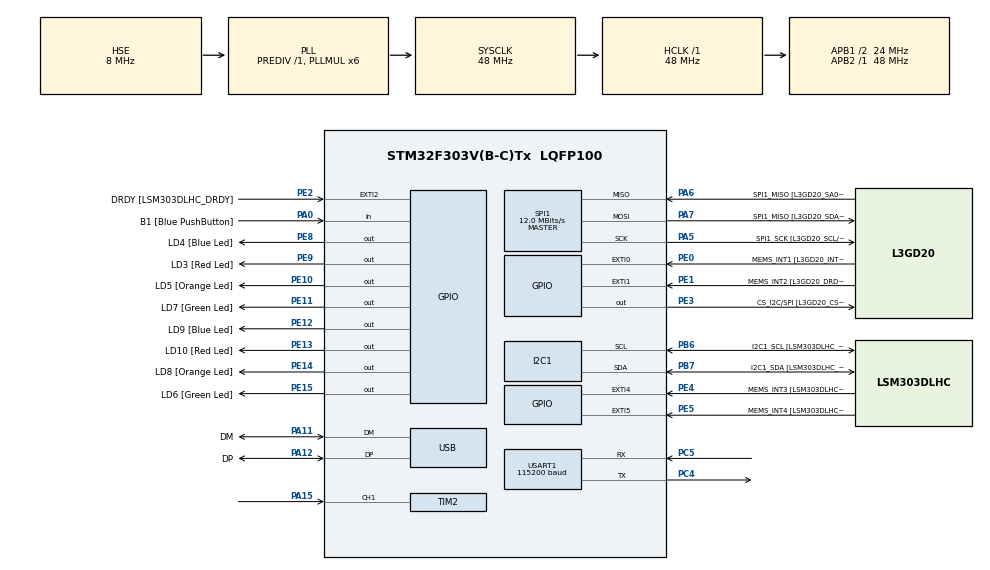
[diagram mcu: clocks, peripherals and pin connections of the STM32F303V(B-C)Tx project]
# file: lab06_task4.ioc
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I2C1.Timing=0x00201D2B
I2C1.Timing-I2C=0x2000090E
Mcu.Family=STM32F3
Mcu.Name=STM32F303V(B-C)Tx
Mcu.Package=LQFP100
NVIC.PriorityGroup=NVIC_PRIORITYGROUP_0
NVIC.TIM2_IRQn=true\:0\:0\:false\:false\:true\:true\:true\:true
PA0.GPIO_Label=B1 [Blue PushButton]
PA0.Signal=GPIO_Input
PA11.GPIO_Label=DM
PA11.Mode=Device
PA11.Signal=USB_DM
PA12.GPIO_Label=DP
PA12.Mode=Device
PA12.Signal=USB_DP
PA13.GPIO_Label=SWDIO
PA13.Mode=Serial_Wire
PA13.Signal=SYS_JTMS-SWDIO
PA14.GPIO_Label=SWCLK
PA14.Mode=Serial_Wire
PA14.Signal=SYS_JTCK-SWCLK
PA15.Signal=S_TIM2_CH1_ETR
PA5.GPIO_Label=SPI1_SCK [L3GD20_SCL/SPC]
PA5.Mode=Full_Duplex_Master
PA5.Signal=SPI1_SCK
PA6.GPIO_Label=SPI1_MISO [L3GD20_SA0/SDO]
PA6.Mode=Full_Duplex_Master
PA6.Signal=SPI1_MISO
PA7.GPIO_Label=SPI1_MISO [L3GD20_SDA/SDI/SDO]
PA7.Mode=Full_Duplex_Master
PA7.Signal=SPI1_MOSI
PB3.GPIO_Label=SWO
PB3.Signal=SYS_JTDO-TRACESWO
PB6.GPIO_Label=I2C1_SCL [LSM303DLHC_SCL]
PB6.GPIO_Pu=GPIO_PULLUP
PB6.Mode=I2C
PB6.Signal=I2C1_SCL
PB7.GPIO_Label=I2C1_SDA [LSM303DLHC_SDA]
PB7.GPIO_Pu=GPIO_PULLUP
PB7.Mode=I2C
PB7.Signal=I2C1_SDA
PC14-OSC32_IN.GPIO_Label=OSC32_IN
PC14-OSC32_IN.Signal=RCC_OSC32_IN
PC15-OSC32_OUT.GPIO_Label=OSC32_OUT
PC15-OSC32_OUT.Signal=RCC_OSC32_OUT
PC4.Mode=Asynchronous
PC4.Signal=USART1_TX
PC5.Mode=Asynchronous
PC5.Signal=USART1_RX
PE0.GPIO_Label=MEMS_INT1 [L3GD20_INT1]
PE0.GPIO_ModeDefaultEXTI=GPIO_MODE_EVT_RISING
PE0.Signal=GPXTI0
PE1.GPIO_Label=MEMS_INT2 [L3GD20_DRDY/INT2]
PE1.GPIO_ModeDefaultEXTI=GPIO_MODE_EVT_RISING
PE1.Signal=GPXTI1
PE10.GPIO_Label=LD5 [Orange Led]
PE10.Signal=GPIO_Output
PE11.GPIO_Label=LD7 [Green Led]
PE11.Signal=GPIO_Output
PE12.GPIO_Label=LD9 [Blue Led]
PE12.Signal=GPIO_Output
PE13.GPIO_Label=LD10 [Red Led]
PE13.Signal=GPIO_Output
PE14.GPIO_Label=LD8 [Orange Led]
PE14.Signal=GPIO_Output
PE15.GPIO_Label=LD6 [Green Led]
PE15.Signal=GPIO_Output
PE2.GPIO_Label=DRDY [LSM303DLHC_DRDY]
PE2.GPIO_ModeDefaultEXTI=GPIO_MODE_EVT_RISING
PE2.Signal=GPXTI2
PE3.GPIO_Label=CS_I2C/SPI [L3GD20_CS_I2C/SPI]
PE3.Signal=GPIO_Output
PE4.GPIO_Label=MEMS_INT3 [LSM303DLHC_INT1]
PE4.GPIO_ModeDefaultEXTI=GPIO_MODE_EVT_RISING
PE4.Signal=GPXTI4
PE5.GPIO_Label=MEMS_INT4 [LSM303DLHC_INT2]
PE5.GPIO_ModeDefaultEXTI=GPIO_MODE_EVT_RISING
PE5.Signal=GPXTI5
PE8.GPIO_Label=LD4 [Blue Led]
PE8.Signal=GPIO_Output
PE9.GPIO_Label=LD3 [Red Led]
PE9.Signal=GPIO_Output
PF0-OSC_IN.GPIO_Label=OSC_IN
PF0-OSC_IN.Mode=HSE-External-Clock-Source
PF0-OSC_IN.Signal=RCC_OSC_IN
PF1-OSC_OUT.GPIO_Label=OSC_OUT
PF1-OSC_OUT.Signal=RCC_OSC_OUT
ProjectManager.HeapSize=0x200
ProjectManager.StackSize=0x400
ProjectManager.TargetToolchain=CMake
RCC.AHBFreq_Value=48000000
RCC.APB1CLKDivider=RCC_HCLK_DIV2
RCC.APB1Freq_Value=24000000
RCC.APB1TimFreq_Value=48000000
RCC.APB2Freq_Value=48000000
RCC.APB2TimFreq_Value=48000000
RCC.CortexFreq_Value=48000000
RCC.HCLKFreq_Value=48000000
RCC.HSE_VALUE=8000000
RCC.HSI_VALUE=8000000
RCC.LSE_VALUE=32768
RCC.PLLMUL=RCC_PLL_MUL6
RCC.SYSCLKFreq_VALUE=48000000
RCC.SYSCLKSourceVirtual=RCC_SYSCLKSOURCE_PLLCLK
RCC.USBFreq_Value=48000000
SH.S_TIM2_CH1_ETR.0=TIM2_CH1,Input_Capture1_from_TI1
SPI1.BaudRatePrescaler=SPI_BAUDRATEPRESCALER_4
SPI1.BaudRatePrescaler-Full_Duplex_Master=SPI_BAUDRATEPRESCALER_2
SPI1.CalculateBaudRate=12.0 MBits/s
SPI1.CalculateBaudRate-Full_Duplex_Master=24.0 MBits/s
SPI1.Direction=SPI_DIRECTION_2LINES
SPI1.Mode=SPI_MODE_MASTER
SPI1.Mode-Full_Duplex_Master=SPI_MODE_MASTER
SPI1.VirtualType=VM_MASTER
TIM2.Channel-Input_Capture1_from_TI1=TIM_CHANNEL_1
TIM2.Prescaler=47
USART1.BaudRate=115200
USART1.VirtualMode-Asynchronous=VM_ASYNC
board=STM32F3DISCOVERY

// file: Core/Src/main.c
/* USER CODE BEGIN Header */
/**
  ******************************************************************************
  * @file           : main.c
  * @brief          : Main program body
  ******************************************************************************
  * @attention
  *
  * Copyright (c) 2026 STMicroelectronics.
  * All rights reserved.
  *
  * This software is licensed under terms that can be found in the LICENSE file
  * in the root directory of this software component.
  * If no LICENSE file comes with this software, it is provided AS-IS.
  *
  ******************************************************************************
  */
/* USER CODE END Header */
#include "main.h"

/* USER CODE BEGIN Includes */

#include <stdio.h>
/* USER CODE END Includes */

/* USER CODE BEGIN PD */

#define PPR 330

/* USER CODE END PD */

I2C_HandleTypeDef hi2c1;

SPI_HandleTypeDef hspi1;

TIM_HandleTypeDef htim2;

UART_HandleTypeDef huart1;

PCD_HandleTypeDef hpcd_USB_FS;

/* USER CODE BEGIN PV */
uint32_t firstCapture = 0;
uint32_t secondCapture = 0;
uint32_t period = 0;
uint32_t frequency = 0;
uint32_t rpm = 0;

uint8_t firstEdge = 1;
uint8_t dataReady = 0;

/* USER CODE END PV */

void SystemClock_Config(void);
static void MX_GPIO_Init(void);
static void MX_I2C1_Init(void);
static void MX_SPI1_Init(void);
static void MX_USB_PCD_Init(void);
static void MX_TIM2_Init(void);
static void MX_USART1_UART_Init(void);

/* USER CODE BEGIN 0 */

int _write(int file, char *ptr, int len)
{
    HAL_UART_Transmit(&huart1, (uint8_t *)ptr, len, HAL_MAX_DELAY);
    return len;
}

void HAL_TIM_IC_CaptureCallback(TIM_HandleTypeDef *htim)
{
  if (htim->Channel == HAL_TIM_ACTIVE_CHANNEL_1)
  {
    if (firstEdge == 1)
    {
      firstCapture = HAL_TIM_ReadCapturedValue(htim, TIM_CHANNEL_1);
      firstEdge = 0;
    }
    else
    {
      secondCapture = HAL_TIM_ReadCapturedValue(htim, TIM_CHANNEL_1);
      period = secondCapture - firstCapture;
      firstCapture = secondCapture;
      dataReady = 1;
      }
  }
}

/* USER CODE END 0 */

int main(void)
{

  /* MCU Configuration--------------------------------------------------------*/

  /* Reset of all peripherals, Initializes the Flash interface and the Systick. */
  HAL_Init();

  /* Configure the system clock */
  SystemClock_Config();

  /* Initialize all configured peripherals */
  MX_GPIO_Init();
  MX_I2C1_Init();
  MX_SPI1_Init();
  MX_USB_PCD_Init();
  MX_TIM2_Init();
  MX_USART1_UART_Init();
  /* USER CODE BEGIN 2 */

  HAL_TIM_IC_Start_IT(&htim2, TIM_CHANNEL_1);

  /* USER CODE END 2 */

  /* Infinite loop */
  while (1)
  {

    /* USER CODE BEGIN 3 */
    if (dataReady == 1)
    {
      if (period != 0)
      {
        frequency = 1000000 / period;
        rpm = (60 * frequency) / PPR;
        printf("Period: %d us\r\n",period);
        printf("Frequency: %d Hz\r\n", frequency);
        printf("RPM: %d \r\n",rpm);
      }

      dataReady = 0;
  }

    HAL_Delay(100);
  }
  /* USER CODE END 3 */
}

void SystemClock_Config(void)
{
  RCC_OscInitTypeDef RCC_OscInitStruct = {0};
  RCC_ClkInitTypeDef RCC_ClkInitStruct = {0};
  RCC_PeriphCLKInitTypeDef PeriphClkInit = {0};

  /** Initializes the RCC Oscillators according to the specified parameters
  * in the RCC_OscInitTypeDef structure.
  */
  RCC_OscInitStruct.OscillatorType = RCC_OSCILLATORTYPE_HSI|RCC_OSCILLATORTYPE_HSE;
  RCC_OscInitStruct.HSEState = RCC_HSE_BYPASS;
  RCC_OscInitStruct.HSEPredivValue = RCC_HSE_PREDIV_DIV1;
  RCC_OscInitStruct.HSIState = RCC_HSI_ON;
  RCC_OscInitStruct.HSICalibrationValue = RCC_HSICALIBRATION_DEFAULT;
  RCC_OscInitStruct.PLL.PLLState = RCC_PLL_ON;
  RCC_OscInitStruct.PLL.PLLSource = RCC_PLLSOURCE_HSE;
  RCC_OscInitStruct.PLL.PLLMUL = RCC_PLL_MUL6;
  if (HAL_RCC_OscConfig(&RCC_OscInitStruct) != HAL_OK)
  {
    Error_Handler();
  }

  /** Initializes the CPU, AHB and APB buses clocks
  */
  RCC_ClkInitStruct.ClockType = RCC_CLOCKTYPE_HCLK|RCC_CLOCKTYPE_SYSCLK
                              |RCC_CLOCKTYPE_PCLK1|RCC_CLOCKTYPE_PCLK2;
  RCC_ClkInitStruct.SYSCLKSource = RCC_SYSCLKSOURCE_PLLCLK;
  RCC_ClkInitStruct.AHBCLKDivider = RCC_SYSCLK_DIV1;
  RCC_ClkInitStruct.APB1CLKDivider = RCC_HCLK_DIV2;
  RCC_ClkInitStruct.APB2CLKDivider = RCC_HCLK_DIV1;

  if (HAL_RCC_ClockConfig(&RCC_ClkInitStruct, FLASH_LATENCY_1) != HAL_OK)
  {
    Error_Handler();
  }
  PeriphClkInit.PeriphClockSelection = RCC_PERIPHCLK_USB|RCC_PERIPHCLK_USART1
                              |RCC_PERIPHCLK_I2C1;
  PeriphClkInit.Usart1ClockSelection = RCC_USART1CLKSOURCE_PCLK2;
  PeriphClkInit.I2c1ClockSelection = RCC_I2C1CLKSOURCE_HSI;
  PeriphClkInit.USBClockSelection = RCC_USBCLKSOURCE_PLL;
  if (HAL_RCCEx_PeriphCLKConfig(&PeriphClkInit) != HAL_OK)
  {
    Error_Handler();
  }
}

static void MX_I2C1_Init(void)
{

  hi2c1.Instance = I2C1;
  hi2c1.Init.Timing = 0x00201D2B;
  hi2c1.Init.OwnAddress1 = 0;
  hi2c1.Init.AddressingMode = I2C_ADDRESSINGMODE_7BIT;
  hi2c1.Init.DualAddressMode = I2C_DUALADDRESS_DISABLE;
  hi2c1.Init.OwnAddress2 = 0;
  hi2c1.Init.OwnAddress2Masks = I2C_OA2_NOMASK;
  hi2c1.Init.GeneralCallMode = I2C_GENERALCALL_DISABLE;
  hi2c1.Init.NoStretchMode = I2C_NOSTRETCH_DISABLE;
  if (HAL_I2C_Init(&hi2c1) != HAL_OK)
  {
    Error_Handler();
  }

  /** Configure Analogue filter
  */
  if (HAL_I2CEx_ConfigAnalogFilter(&hi2c1, I2C_ANALOGFILTER_ENABLE) != HAL_OK)
  {
    Error_Handler();
  }

  /** Configure Digital filter
  */
  if (HAL_I2CEx_ConfigDigitalFilter(&hi2c1, 0) != HAL_OK)
  {
    Error_Handler();
  }

}

static void MX_SPI1_Init(void)
{

  /* SPI1 parameter configuration*/
  hspi1.Instance = SPI1;
  hspi1.Init.Mode = SPI_MODE_MASTER;
  hspi1.Init.Direction = SPI_DIRECTION_2LINES;
  hspi1.Init.DataSize = SPI_DATASIZE_4BIT;
  hspi1.Init.CLKPolarity = SPI_POLARITY_LOW;
  hspi1.Init.CLKPhase = SPI_PHASE_1EDGE;
  hspi1.Init.NSS = SPI_NSS_SOFT;
  hspi1.Init.BaudRatePrescaler = SPI_BAUDRATEPRESCALER_4;
  hspi1.Init.FirstBit = SPI_FIRSTBIT_MSB;
  hspi1.Init.TIMode = SPI_TIMODE_DISABLE;
  hspi1.Init.CRCCalculation = SPI_CRCCALCULATION_DISABLE;
  hspi1.Init.CRCPolynomial = 7;
  hspi1.Init.CRCLength = SPI_CRC_LENGTH_DATASIZE;
  hspi1.Init.NSSPMode = SPI_NSS_PULSE_ENABLE;
  if (HAL_SPI_Init(&hspi1) != HAL_OK)
  {
    Error_Handler();
  }

}

static void MX_TIM2_Init(void)
{

  TIM_MasterConfigTypeDef sMasterConfig = {0};
  TIM_IC_InitTypeDef sConfigIC = {0};

  htim2.Instance = TIM2;
  htim2.Init.Prescaler = 47;
  htim2.Init.CounterMode = TIM_COUNTERMODE_UP;
  htim2.Init.Period = 4294967295;
  htim2.Init.ClockDivision = TIM_CLOCKDIVISION_DIV1;
  htim2.Init.AutoReloadPreload = TIM_AUTORELOAD_PRELOAD_DISABLE;
  if (HAL_TIM_IC_Init(&htim2) != HAL_OK)
  {
    Error_Handler();
  }
  sMasterConfig.MasterOutputTrigger = TIM_TRGO_RESET;
  sMasterConfig.MasterSlaveMode = TIM_MASTERSLAVEMODE_DISABLE;
  if (HAL_TIMEx_MasterConfigSynchronization(&htim2, &sMasterConfig) != HAL_OK)
  {
    Error_Handler();
  }
  sConfigIC.ICPolarity = TIM_INPUTCHANNELPOLARITY_RISING;
  sConfigIC.ICSelection = TIM_ICSELECTION_DIRECTTI;
  sConfigIC.ICPrescaler = TIM_ICPSC_DIV1;
  sConfigIC.ICFilter = 0;
  if (HAL_TIM_IC_ConfigChannel(&htim2, &sConfigIC, TIM_CHANNEL_1) != HAL_OK)
  {
    Error_Handler();
  }

}

static void MX_USART1_UART_Init(void)
{

  huart1.Instance = USART1;
  huart1.Init.BaudRate = 115200;
  huart1.Init.WordLength = UART_WORDLENGTH_8B;
  huart1.Init.StopBits = UART_STOPBITS_1;
  huart1.Init.Parity = UART_PARITY_NONE;
  huart1.Init.Mode = UART_MODE_TX_RX;
  huart1.Init.HwFlowCtl = UART_HWCONTROL_NONE;
  huart1.Init.OverSampling = UART_OVERSAMPLING_16;
  huart1.Init.OneBitSampling = UART_ONE_BIT_SAMPLE_DISABLE;
  huart1.AdvancedInit.AdvFeatureInit = UART_ADVFEATURE_NO_INIT;
  if (HAL_UART_Init(&huart1) != HAL_OK)
  {
    Error_Handler();
  }

}

static void MX_USB_PCD_Init(void)
{

  hpcd_USB_FS.Instance = USB;
  hpcd_USB_FS.Init.dev_endpoints = 8;
  hpcd_USB_FS.Init.speed = PCD_SPEED_FULL;
  hpcd_USB_FS.Init.phy_itface = PCD_PHY_EMBEDDED;
  hpcd_USB_FS.Init.low_power_enable = DISABLE;
  hpcd_USB_FS.Init.battery_charging_enable = DISABLE;
  if (HAL_PCD_Init(&hpcd_USB_FS) != HAL_OK)
  {
    Error_Handler();
  }

}

static void MX_GPIO_Init(void)
{
  GPIO_InitTypeDef GPIO_InitStruct = {0};

  /* GPIO Ports Clock Enable */
  __HAL_RCC_GPIOE_CLK_ENABLE();
  __HAL_RCC_GPIOC_CLK_ENABLE();
  __HAL_RCC_GPIOF_CLK_ENABLE();
  __HAL_RCC_GPIOA_CLK_ENABLE();
  __HAL_RCC_GPIOB_CLK_ENABLE();

  /*Configure GPIO pin Output Level */
  HAL_GPIO_WritePin(GPIOE, CS_I2C_SPI_Pin|LD4_Pin|LD3_Pin|LD5_Pin
                          |LD7_Pin|LD9_Pin|LD10_Pin|LD8_Pin
                          |LD6_Pin, GPIO_PIN_RESET);

  /*Configure GPIO pins : DRDY_Pin MEMS_INT3_Pin MEMS_INT4_Pin MEMS_INT1_Pin
                           MEMS_INT2_Pin */
  GPIO_InitStruct.Pin = DRDY_Pin|MEMS_INT3_Pin|MEMS_INT4_Pin|MEMS_INT1_Pin
                          |MEMS_INT2_Pin;
  GPIO_InitStruct.Mode = GPIO_MODE_EVT_RISING;
  GPIO_InitStruct.Pull = GPIO_NOPULL;
  HAL_GPIO_Init(GPIOE, &GPIO_InitStruct);

  /*Configure GPIO pins : CS_I2C_SPI_Pin LD4_Pin LD3_Pin LD5_Pin
                           LD7_Pin LD9_Pin LD10_Pin LD8_Pin
                           LD6_Pin */
  GPIO_InitStruct.Pin = CS_I2C_SPI_Pin|LD4_Pin|LD3_Pin|LD5_Pin
                          |LD7_Pin|LD9_Pin|LD10_Pin|LD8_Pin
                          |LD6_Pin;
  GPIO_InitStruct.Mode = GPIO_MODE_OUTPUT_PP;
  GPIO_InitStruct.Pull = GPIO_NOPULL;
  GPIO_InitStruct.Speed = GPIO_SPEED_FREQ_LOW;
  HAL_GPIO_Init(GPIOE, &GPIO_InitStruct);

  /*Configure GPIO pin : B1_Pin */
  GPIO_InitStruct.Pin = B1_Pin;
  GPIO_InitStruct.Mode = GPIO_MODE_INPUT;
  GPIO_InitStruct.Pull = GPIO_NOPULL;
  HAL_GPIO_Init(B1_GPIO_Port, &GPIO_InitStruct);

}

void Error_Handler(void)
{
  __disable_irq();
  while (1)
  {
  }
}
